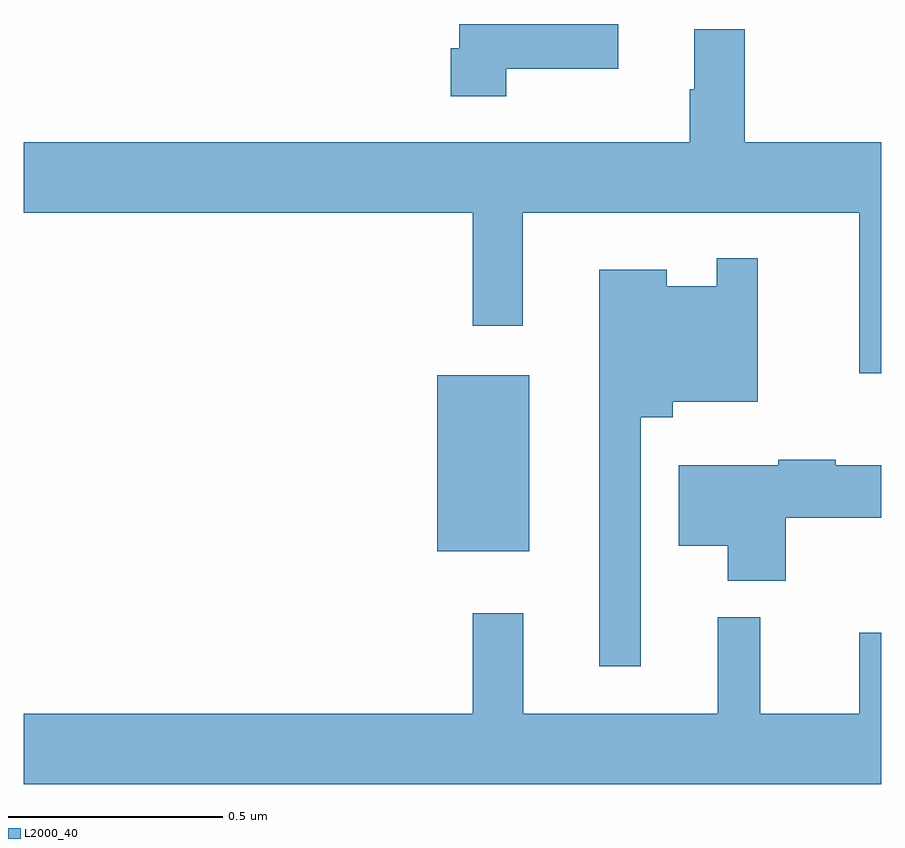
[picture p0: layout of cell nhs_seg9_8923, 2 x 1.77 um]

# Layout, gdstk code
import gdstk
lib = gdstk.Library(unit=1e-6, precision=1e-09)
def R(c, l, rs):  # rectangles x0, y0, x1, y1
    for r in rs: c.add(gdstk.rectangle(r[:2], r[2:], *l))
def P(c, l, *ps):  # polygons
    for p in ps: c.add(gdstk.Polygon(p, *l))
L2000_40 = (2000, 40)

nhs_seg9_8923 = lib.new_cell('nhs_seg9_8923')
R(nhs_seg9_8923, L2000_40, [(223.964,1222.271,224.179,1222.681)])
P(nhs_seg9_8923, L2000_40, [(224.125,1223.396),(224.386,1223.396),(224.386,1223.5),(224.016,1223.5),(224.016,1223.443),(223.996,1223.443),(223.996,1223.331),(224.125,1223.331)],
  [(225,1223.224),(224.681,1223.224),(224.681,1223.488),(224.564,1223.488),(224.564,1223.348),(224.553,1223.348),(224.553,1223.224),(223,1223.224),(223,1223.06),(224.047,1223.06),(224.047,1222.797),(224.164,1222.797),(224.164,1223.06),(224.948,1223.06),(224.948,1222.686),(225,1222.686)],
  [(224.439,1222.583),(224.513,1222.583),(224.513,1222.619),(224.712,1222.619),(224.712,1222.954),(224.616,1222.954),(224.616,1222.888),(224.5,1222.888),(224.5,1222.927),(224.342,1222.927),(224.342,1222.002),(224.439,1222.002)],
  [(224.777,1222.349),(225,1222.349),(225,1222.471),(224.894,1222.471),(224.894,1222.484),(224.76,1222.484),(224.76,1222.471),(224.528,1222.471),(224.528,1222.283),(224.642,1222.283),(224.642,1222.202),(224.777,1222.202)],
  [(225,1222.081),(224.948,1222.081),(224.948,1221.892),(224.718,1221.892),(224.718,1222.117),(224.618,1222.117),(224.618,1221.892),(224.165,1221.892),(224.165,1222.126),(224.047,1222.126),(224.047,1221.892),(223,1221.892),(223,1221.728),(225,1221.728)])

lib.write_gds('nhs_seg9_8923.gds')
